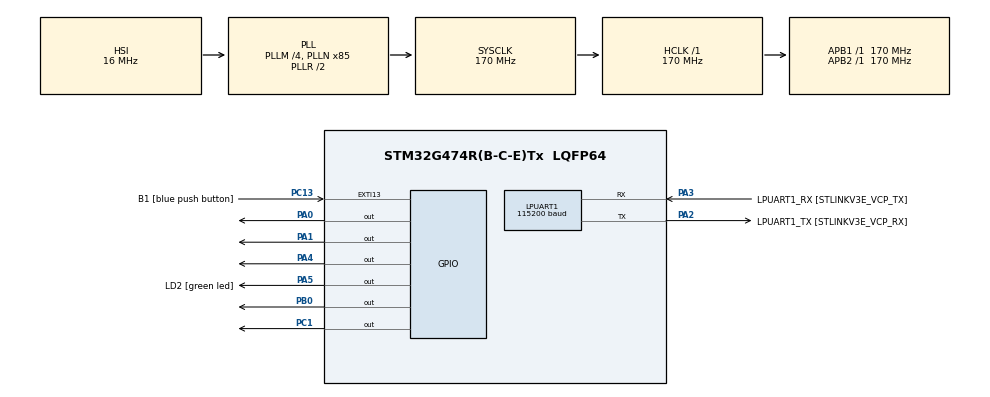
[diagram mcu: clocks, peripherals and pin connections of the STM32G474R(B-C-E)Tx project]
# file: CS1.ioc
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LPUART1.BaudRate=115200
LPUART1.WordLength=UART_WORDLENGTH_8B
Mcu.Family=STM32G4
Mcu.Name=STM32G474R(B-C-E)Tx
Mcu.Package=LQFP64
NVIC.EXTI15_10_IRQn=true\:0\:0\:false\:false\:true\:true\:true\:true
NVIC.PriorityGroup=NVIC_PRIORITYGROUP_4
PA0.Signal=GPIO_Output
PA1.Signal=GPIO_Output
PA13.GPIO_Label=T_SWDIO
PA13.Mode=Serial_Wire
PA13.Signal=SYS_JTMS-SWDIO
PA14.GPIO_Label=T_SWCLK
PA14.Mode=Serial_Wire
PA14.Signal=SYS_JTCK-SWCLK
PA2.GPIO_Label=LPUART1_TX [STLINKV3E_VCP_RX]
PA2.Mode=Asynchronous
PA2.Signal=LPUART1_TX
PA3.GPIO_Label=LPUART1_RX [STLINKV3E_VCP_TX]
PA3.Mode=Asynchronous
PA3.Signal=LPUART1_RX
PA4.Signal=GPIO_Output
PA5.GPIO_Label=LD2 [green led]
PA5.Signal=GPIO_Output
PB0.Signal=GPIO_Output
PB3.GPIO_Label=T_SWO
PB3.Signal=SYS_JTDO-SWO
PC1.Signal=GPIO_Output
PC13.GPIO_Label=B1 [blue push button]
PC13.Signal=GPXTI13
PC14-OSC32_IN.Mode=LSE-External-Oscillator
PC14-OSC32_IN.Signal=RCC_OSC32_IN
PC15-OSC32_OUT.Mode=LSE-External-Oscillator
PC15-OSC32_OUT.Signal=RCC_OSC32_OUT
PF0-OSC_IN.Mode=HSE-External-Oscillator
PF0-OSC_IN.Signal=RCC_OSC_IN
PF1-OSC_OUT.Mode=HSE-External-Oscillator
PF1-OSC_OUT.Signal=RCC_OSC_OUT
ProjectManager.HeapSize=0x200
ProjectManager.StackSize=0x400
ProjectManager.TargetToolchain=STM32CubeIDE
RCC.ADC12Freq_Value=170000000
RCC.ADC345Freq_Value=170000000
RCC.AHBFreq_Value=170000000
RCC.APB1Freq_Value=170000000
RCC.APB1TimFreq_Value=170000000
RCC.APB2Freq_Value=170000000
RCC.APB2TimFreq_Value=170000000
RCC.CortexFreq_Value=170000000
RCC.EXTERNAL_CLOCK_VALUE=12288000
RCC.HCLKFreq_Value=170000000
RCC.HSE_VALUE=24000000
RCC.HSI48_VALUE=48000000
RCC.HSI_VALUE=16000000
RCC.PLLM=RCC_PLLM_DIV4
RCC.PLLN=85
RCC.RTCClockSelection=RCC_RTCCLKSOURCE_LSE
RCC.SYSCLKFreq_VALUE=170000000
RCC.SYSCLKSource=RCC_SYSCLKSOURCE_PLLCLK
RCC.USBFreq_Value=170000000
RCC.VCOOutputFreq_Value=340000000
VP_SYS_VS_DBSignals.Mode=DisableDeadBatterySignals
board=NUCLEO-G474RE

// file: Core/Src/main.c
/* USER CODE BEGIN Header */
/**
  ******************************************************************************
  * @file           : main.c
  * @brief          : Main program body
  ******************************************************************************
  * @attention
  *
  * Copyright (c) 2025 STMicroelectronics.
  * All rights reserved.
  *
  * This software is licensed under terms that can be found in the LICENSE file
  * in the root directory of this software component.
  * If no LICENSE file comes with this software, it is provided AS-IS.
  *
  ******************************************************************************
  */
/* USER CODE END Header */
#include "main.h"

UART_HandleTypeDef hlpuart1;

/* USER CODE BEGIN PV */
uint8_t SignalPattern[4][4]={
		{1, 0, 0, 1},
		{1, 0, 0, 1},
		{0, 1, 0, 0},
		{1, 1, 1, 0}
};
/* USER CODE END PV */

void SystemClock_Config(void);
static void MX_GPIO_Init(void);
static void MX_LPUART1_UART_Init(void);

int main(void)
{

  /* MCU Configuration--------------------------------------------------------*/

  /* Reset of all peripherals, Initializes the Flash interface and the Systick. */
  HAL_Init();

  /* Configure the system clock */
  SystemClock_Config();

  /* Initialize all configured peripherals */
  MX_GPIO_Init();
  MX_LPUART1_UART_Init();

  /* Infinite loop */
  while (1)
  {

    /* USER CODE BEGIN 3 */
	  for (int i = 0; i < 4; i++)
	  {
		  HAL_GPIO_WritePin(GPIOA, GPIO_PIN_0, SignalPattern[i][0] ? GPIO_PIN_SET : GPIO_PIN_RESET);
		  HAL_GPIO_WritePin(GPIOA, GPIO_PIN_1, SignalPattern[i][1] ? GPIO_PIN_SET : GPIO_PIN_RESET);
		  HAL_GPIO_WritePin(GPIOA, GPIO_PIN_4, SignalPattern[i][2] ? GPIO_PIN_SET : GPIO_PIN_RESET);
		  HAL_GPIO_WritePin(GPIOB, GPIO_PIN_0, SignalPattern[i][3] ? GPIO_PIN_SET : GPIO_PIN_RESET);

		  HAL_GPIO_WritePin(GPIOC, GPIO_PIN_1, GPIO_PIN_RESET);
		  HAL_Delay(1);

		  HAL_GPIO_WritePin(GPIOC, GPIO_PIN_1, GPIO_PIN_SET);
		  HAL_Delay(500);

	  }
  }
  /* USER CODE END 3 */
}

void SystemClock_Config(void)
{
  RCC_OscInitTypeDef RCC_OscInitStruct = {0};
  RCC_ClkInitTypeDef RCC_ClkInitStruct = {0};

  /** Configure the main internal regulator output voltage
  */
  HAL_PWREx_ControlVoltageScaling(PWR_REGULATOR_VOLTAGE_SCALE1_BOOST);

  /** Initializes the RCC Oscillators according to the specified parameters
  * in the RCC_OscInitTypeDef structure.
  */
  RCC_OscInitStruct.OscillatorType = RCC_OSCILLATORTYPE_HSI;
  RCC_OscInitStruct.HSIState = RCC_HSI_ON;
  RCC_OscInitStruct.HSICalibrationValue = RCC_HSICALIBRATION_DEFAULT;
  RCC_OscInitStruct.PLL.PLLState = RCC_PLL_ON;
  RCC_OscInitStruct.PLL.PLLSource = RCC_PLLSOURCE_HSI;
  RCC_OscInitStruct.PLL.PLLM = RCC_PLLM_DIV4;
  RCC_OscInitStruct.PLL.PLLN = 85;
  RCC_OscInitStruct.PLL.PLLP = RCC_PLLP_DIV2;
  RCC_OscInitStruct.PLL.PLLQ = RCC_PLLQ_DIV2;
  RCC_OscInitStruct.PLL.PLLR = RCC_PLLR_DIV2;
  if (HAL_RCC_OscConfig(&RCC_OscInitStruct) != HAL_OK)
  {
    Error_Handler();
  }

  /** Initializes the CPU, AHB and APB buses clocks
  */
  RCC_ClkInitStruct.ClockType = RCC_CLOCKTYPE_HCLK|RCC_CLOCKTYPE_SYSCLK
                              |RCC_CLOCKTYPE_PCLK1|RCC_CLOCKTYPE_PCLK2;
  RCC_ClkInitStruct.SYSCLKSource = RCC_SYSCLKSOURCE_PLLCLK;
  RCC_ClkInitStruct.AHBCLKDivider = RCC_SYSCLK_DIV1;
  RCC_ClkInitStruct.APB1CLKDivider = RCC_HCLK_DIV1;
  RCC_ClkInitStruct.APB2CLKDivider = RCC_HCLK_DIV1;

  if (HAL_RCC_ClockConfig(&RCC_ClkInitStruct, FLASH_LATENCY_4) != HAL_OK)
  {
    Error_Handler();
  }
}

static void MX_LPUART1_UART_Init(void)
{

  hlpuart1.Instance = LPUART1;
  hlpuart1.Init.BaudRate = 115200;
  hlpuart1.Init.WordLength = UART_WORDLENGTH_8B;
  hlpuart1.Init.StopBits = UART_STOPBITS_1;
  hlpuart1.Init.Parity = UART_PARITY_NONE;
  hlpuart1.Init.Mode = UART_MODE_TX_RX;
  hlpuart1.Init.HwFlowCtl = UART_HWCONTROL_NONE;
  hlpuart1.Init.OneBitSampling = UART_ONE_BIT_SAMPLE_DISABLE;
  hlpuart1.Init.ClockPrescaler = UART_PRESCALER_DIV1;
  hlpuart1.AdvancedInit.AdvFeatureInit = UART_ADVFEATURE_NO_INIT;
  if (HAL_UART_Init(&hlpuart1) != HAL_OK)
  {
    Error_Handler();
  }
  if (HAL_UARTEx_SetTxFifoThreshold(&hlpuart1, UART_TXFIFO_THRESHOLD_1_8) != HAL_OK)
  {
    Error_Handler();
  }
  if (HAL_UARTEx_SetRxFifoThreshold(&hlpuart1, UART_RXFIFO_THRESHOLD_1_8) != HAL_OK)
  {
    Error_Handler();
  }
  if (HAL_UARTEx_DisableFifoMode(&hlpuart1) != HAL_OK)
  {
    Error_Handler();
  }

}

static void MX_GPIO_Init(void)
{
  GPIO_InitTypeDef GPIO_InitStruct = {0};

  /* GPIO Ports Clock Enable */
  __HAL_RCC_GPIOC_CLK_ENABLE();
  __HAL_RCC_GPIOF_CLK_ENABLE();
  __HAL_RCC_GPIOA_CLK_ENABLE();
  __HAL_RCC_GPIOB_CLK_ENABLE();

  /*Configure GPIO pin Output Level */
  HAL_GPIO_WritePin(GPIOC, GPIO_PIN_1, GPIO_PIN_RESET);

  /*Configure GPIO pin Output Level */
  HAL_GPIO_WritePin(GPIOA, GPIO_PIN_0|GPIO_PIN_1|GPIO_PIN_4|LD2_Pin, GPIO_PIN_RESET);

  /*Configure GPIO pin Output Level */
  HAL_GPIO_WritePin(GPIOB, GPIO_PIN_0, GPIO_PIN_RESET);

  /*Configure GPIO pin : B1_Pin */
  GPIO_InitStruct.Pin = B1_Pin;
  GPIO_InitStruct.Mode = GPIO_MODE_IT_RISING;
  GPIO_InitStruct.Pull = GPIO_NOPULL;
  HAL_GPIO_Init(B1_GPIO_Port, &GPIO_InitStruct);

  /*Configure GPIO pin : PC1 */
  GPIO_InitStruct.Pin = GPIO_PIN_1;
  GPIO_InitStruct.Mode = GPIO_MODE_OUTPUT_PP;
  GPIO_InitStruct.Pull = GPIO_NOPULL;
  GPIO_InitStruct.Speed = GPIO_SPEED_FREQ_LOW;
  HAL_GPIO_Init(GPIOC, &GPIO_InitStruct);

  /*Configure GPIO pins : PA0 PA1 PA4 LD2_Pin */
  GPIO_InitStruct.Pin = GPIO_PIN_0|GPIO_PIN_1|GPIO_PIN_4|LD2_Pin;
  GPIO_InitStruct.Mode = GPIO_MODE_OUTPUT_PP;
  GPIO_InitStruct.Pull = GPIO_NOPULL;
  GPIO_InitStruct.Speed = GPIO_SPEED_FREQ_LOW;
  HAL_GPIO_Init(GPIOA, &GPIO_InitStruct);

  /*Configure GPIO pin : PB0 */
  GPIO_InitStruct.Pin = GPIO_PIN_0;
  GPIO_InitStruct.Mode = GPIO_MODE_OUTPUT_PP;
  GPIO_InitStruct.Pull = GPIO_NOPULL;
  GPIO_InitStruct.Speed = GPIO_SPEED_FREQ_LOW;
  HAL_GPIO_Init(GPIOB, &GPIO_InitStruct);

  /* EXTI interrupt init*/
  HAL_NVIC_SetPriority(EXTI15_10_IRQn, 0, 0);
  HAL_NVIC_EnableIRQ(EXTI15_10_IRQn);

}

void Error_Handler(void)
{
  __disable_irq();
  while (1)
  {
  }
}
